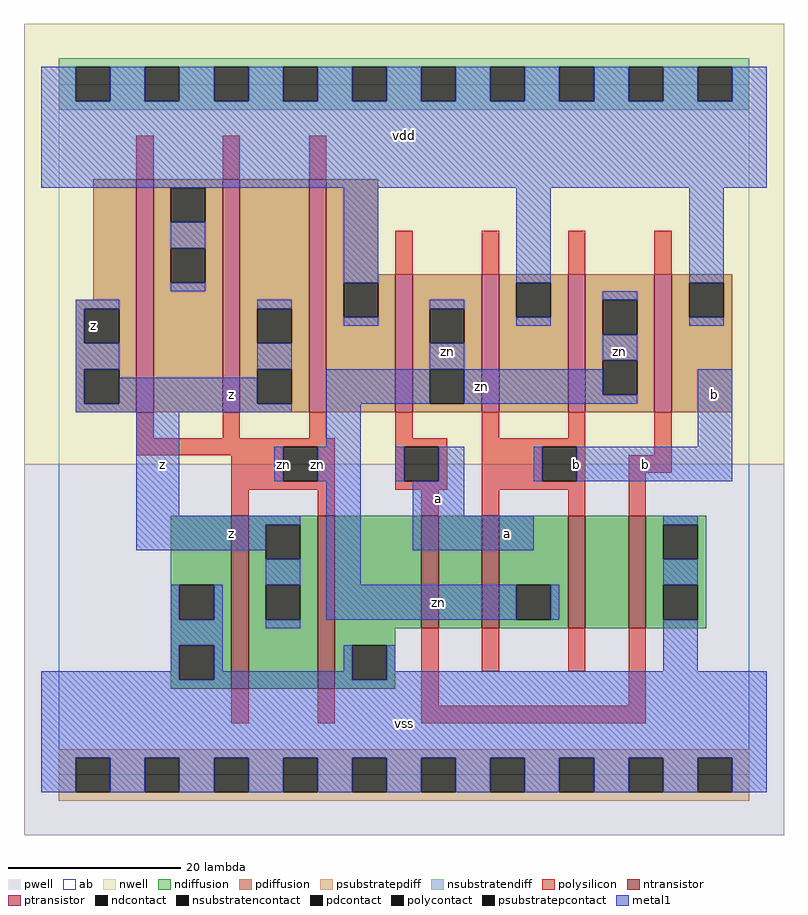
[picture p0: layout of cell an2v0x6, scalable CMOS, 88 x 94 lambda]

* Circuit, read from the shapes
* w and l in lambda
.subckt an2v0x6 a b vdd vss z zn
M1 z zn vss vss nfet w=20 l=2 m=2
M2 n1 a vss vss nfet w=13 l=2
M3 zn b n1 vss nfet w=13 l=2
M4 n2 b zn vss nfet w=13 l=2
M5 vss a n2 vss nfet w=13 l=2
M6 vdd zn z vdd pfet w=27 l=2 m=3
M7 zn a vdd vdd pfet w=16 l=2 m=2
M8 vdd b zn vdd pfet w=16 l=2 m=2
.ends

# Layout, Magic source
magic
tech scmos
<< ab >>
rect 0 0 80 80
<< pwell >>
rect -4 -7 84 36
<< nwell >>
rect -4 36 84 87
<< polysilicon >>
rect 9 69 11 74
rect 19 69 21 74
rect 29 69 31 74
rect 39 58 41 63
rect 49 58 51 63
rect 59 58 61 63
rect 69 58 71 63
rect 9 39 11 42
rect 19 39 21 42
rect 29 39 31 42
rect 39 39 41 42
rect 49 39 51 42
rect 59 39 61 42
rect 9 38 32 39
rect 9 37 26 38
rect 20 34 26 37
rect 30 34 32 38
rect 20 33 32 34
rect 39 38 45 39
rect 39 34 40 38
rect 44 34 45 38
rect 39 33 45 34
rect 49 38 61 39
rect 49 34 56 38
rect 60 34 61 38
rect 69 37 71 42
rect 49 33 61 34
rect 20 30 22 33
rect 30 30 32 33
rect 42 30 44 33
rect 49 30 51 33
rect 59 30 61 33
rect 66 35 71 37
rect 66 30 68 35
rect 20 6 22 10
rect 30 6 32 10
rect 42 8 44 17
rect 49 12 51 17
rect 59 12 61 17
rect 66 8 68 17
rect 42 6 68 8
<< ndiffusion >>
rect 13 22 20 30
rect 13 18 14 22
rect 18 18 20 22
rect 13 15 20 18
rect 13 11 14 15
rect 18 11 20 15
rect 13 10 20 11
rect 22 29 30 30
rect 22 25 24 29
rect 28 25 30 29
rect 22 22 30 25
rect 22 18 24 22
rect 28 18 30 22
rect 22 10 30 18
rect 32 17 42 30
rect 44 17 49 30
rect 51 22 59 30
rect 51 18 53 22
rect 57 18 59 22
rect 51 17 59 18
rect 61 17 66 30
rect 68 29 75 30
rect 68 25 70 29
rect 74 25 75 29
rect 68 22 75 25
rect 68 18 70 22
rect 74 18 75 22
rect 68 17 75 18
rect 32 15 39 17
rect 32 11 34 15
rect 38 11 39 15
rect 32 10 39 11
<< pdiffusion >>
rect 4 55 9 69
rect 2 54 9 55
rect 2 50 3 54
rect 7 50 9 54
rect 2 47 9 50
rect 2 43 3 47
rect 7 43 9 47
rect 2 42 9 43
rect 11 68 19 69
rect 11 64 13 68
rect 17 64 19 68
rect 11 61 19 64
rect 11 57 13 61
rect 17 57 19 61
rect 11 42 19 57
rect 21 54 29 69
rect 21 50 23 54
rect 27 50 29 54
rect 21 47 29 50
rect 21 43 23 47
rect 27 43 29 47
rect 21 42 29 43
rect 31 58 37 69
rect 31 57 39 58
rect 31 53 33 57
rect 37 53 39 57
rect 31 42 39 53
rect 41 54 49 58
rect 41 50 43 54
rect 47 50 49 54
rect 41 47 49 50
rect 41 43 43 47
rect 47 43 49 47
rect 41 42 49 43
rect 51 57 59 58
rect 51 53 53 57
rect 57 53 59 57
rect 51 42 59 53
rect 61 55 69 58
rect 61 51 63 55
rect 67 51 69 55
rect 61 48 69 51
rect 61 44 63 48
rect 67 44 69 48
rect 61 42 69 44
rect 71 57 78 58
rect 71 53 73 57
rect 77 53 78 57
rect 71 42 78 53
<< metal1 >>
rect -2 78 2 82
rect 6 78 10 82
rect 14 78 18 82
rect 22 78 26 82
rect 30 78 34 82
rect 38 78 42 82
rect 46 78 50 82
rect 54 78 58 82
rect 62 78 66 82
rect 70 78 74 82
rect 78 78 82 82
rect -2 68 82 78
rect 13 61 17 64
rect 13 56 17 57
rect 33 57 37 68
rect 2 54 7 55
rect 2 50 3 54
rect 2 47 7 50
rect 2 43 3 47
rect 23 54 27 55
rect 53 57 57 68
rect 33 52 37 53
rect 43 54 47 55
rect 23 47 27 50
rect 73 57 77 68
rect 53 52 57 53
rect 63 55 67 56
rect 43 47 47 50
rect 73 52 77 53
rect 63 48 67 51
rect 7 43 23 46
rect 2 42 27 43
rect 31 43 43 47
rect 47 44 63 47
rect 47 43 67 44
rect 9 30 14 42
rect 31 38 35 43
rect 74 38 78 47
rect 25 34 26 38
rect 30 34 35 38
rect 39 34 40 38
rect 44 34 47 38
rect 55 34 56 38
rect 60 34 78 38
rect 9 29 28 30
rect 9 26 24 29
rect 24 22 28 25
rect 13 18 14 22
rect 18 18 19 22
rect 13 15 19 18
rect 31 22 35 34
rect 41 30 47 34
rect 41 26 55 30
rect 70 29 74 30
rect 70 22 74 25
rect 31 18 53 22
rect 57 18 58 22
rect 24 17 28 18
rect 13 12 14 15
rect -2 11 14 12
rect 18 12 19 15
rect 33 12 34 15
rect 18 11 34 12
rect 38 12 39 15
rect 70 12 74 18
rect 38 11 82 12
rect -2 2 82 11
rect -2 -2 2 2
rect 6 -2 10 2
rect 14 -2 18 2
rect 22 -2 26 2
rect 30 -2 34 2
rect 38 -2 42 2
rect 46 -2 50 2
rect 54 -2 58 2
rect 62 -2 66 2
rect 70 -2 74 2
rect 78 -2 82 2
<< ntransistor >>
rect 20 10 22 30
rect 30 10 32 30
rect 42 17 44 30
rect 49 17 51 30
rect 59 17 61 30
rect 66 17 68 30
<< ptransistor >>
rect 9 42 11 69
rect 19 42 21 69
rect 29 42 31 69
rect 39 42 41 58
rect 49 42 51 58
rect 59 42 61 58
rect 69 42 71 58
<< polycontact >>
rect 26 34 30 38
rect 40 34 44 38
rect 56 34 60 38
<< ndcontact >>
rect 14 18 18 22
rect 14 11 18 15
rect 24 25 28 29
rect 24 18 28 22
rect 53 18 57 22
rect 70 25 74 29
rect 70 18 74 22
rect 34 11 38 15
<< pdcontact >>
rect 3 50 7 54
rect 3 43 7 47
rect 13 64 17 68
rect 13 57 17 61
rect 23 50 27 54
rect 23 43 27 47
rect 33 53 37 57
rect 43 50 47 54
rect 43 43 47 47
rect 53 53 57 57
rect 63 51 67 55
rect 63 44 67 48
rect 73 53 77 57
<< psubstratepcontact >>
rect 2 -2 6 2
rect 10 -2 14 2
rect 18 -2 22 2
rect 26 -2 30 2
rect 34 -2 38 2
rect 42 -2 46 2
rect 50 -2 54 2
rect 58 -2 62 2
rect 66 -2 70 2
rect 74 -2 78 2
<< nsubstratencontact >>
rect 2 78 6 82
rect 10 78 14 82
rect 18 78 22 82
rect 26 78 30 82
rect 34 78 38 82
rect 42 78 46 82
rect 50 78 54 82
rect 58 78 62 82
rect 66 78 70 82
rect 74 78 78 82
<< psubstratepdiff >>
rect 0 2 80 3
rect 0 -2 2 2
rect 6 -2 10 2
rect 14 -2 18 2
rect 22 -2 26 2
rect 30 -2 34 2
rect 38 -2 42 2
rect 46 -2 50 2
rect 54 -2 58 2
rect 62 -2 66 2
rect 70 -2 74 2
rect 78 -2 80 2
rect 0 -3 80 -2
<< nsubstratendiff >>
rect 0 82 80 83
rect 0 78 2 82
rect 6 78 10 82
rect 14 78 18 82
rect 22 78 26 82
rect 30 78 34 82
rect 38 78 42 82
rect 46 78 50 82
rect 54 78 58 82
rect 62 78 66 82
rect 70 78 74 82
rect 78 78 80 82
rect 0 77 80 78
<< labels >>
rlabel polysilicon 26 36 26 36 6 zn
rlabel pdcontact 4 52 4 52 6 z
rlabel metal1 20 28 20 28 6 z
rlabel metal1 12 36 12 36 6 z
rlabel metal1 20 44 20 44 6 z
rlabel metal1 40 6 40 6 6 vss
rlabel metal1 44 32 44 32 6 a
rlabel metal1 30 36 30 36 6 zn
rlabel metal1 45 49 45 49 6 zn
rlabel metal1 40 74 40 74 6 vdd
rlabel metal1 52 28 52 28 6 a
rlabel metal1 44 20 44 20 6 zn
rlabel metal1 60 36 60 36 6 b
rlabel metal1 68 36 68 36 6 b
rlabel metal1 49 45 49 45 6 zn
rlabel metal1 76 44 76 44 6 b
rlabel metal1 65 49 65 49 6 zn
<< end >>
